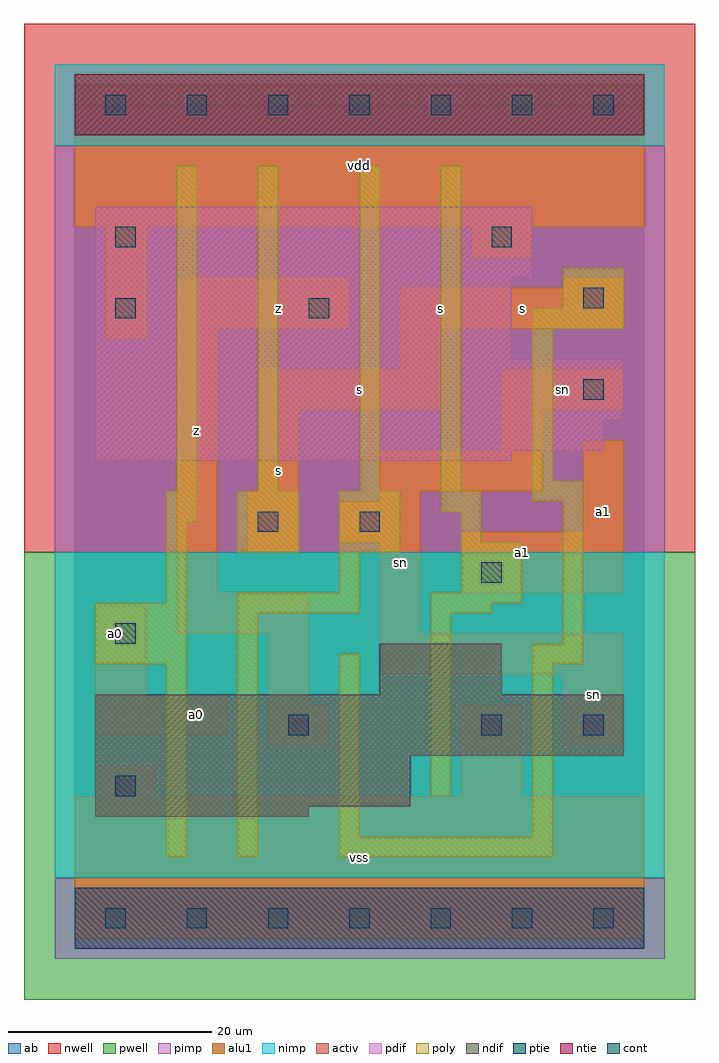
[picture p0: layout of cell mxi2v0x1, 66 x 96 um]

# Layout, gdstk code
import gdstk
lib = gdstk.Library(unit=1e-6, precision=1e-09)
def R(c, l, rs):  # rectangles x0, y0, x1, y1
    for r in rs: c.add(gdstk.rectangle(r[:2], r[2:], *l))
def A(c, l, x, y, w, h, nx, ny, dx, dy):  # array of equal rectangles
    R(c, l, [(x+i*dx, y+j*dy, x+i*dx+w, y+j*dy+h) for i in range(nx) for j in range(ny)])
ndif = (3, 0)
pdif = (4, 0)
ntie = (5, 0)
ptie = (6, 0)
cont = (25, 0)
pwell = (41, 0)
nwell = (42, 0)
activ = (43, 0)
pimp = (44, 0)
nimp = (45, 0)
poly = (46, 0)
alu1 = (49, 0)
ab = (63, 0)

mxi2v0x1 = lib.new_cell('mxi2v0x1')
R(mxi2v0x1, ndif, [(2,10,23,11), (2,11,33,16), (2,16,54,22), (30,22,42,27)])
R(mxi2v0x1, pdif, [(2,45,43,46), (2,46,52,49), (2,49,54,55), (2,55,43,63), (2,63,45,70)])
R(mxi2v0x1, ntie, [(0,77,56,83)])
R(mxi2v0x1, ptie, [(0,-3,56,3)])
A(mxi2v0x1, cont, 3, -1, 2, 2, 7, 2, 8, 80)
R(mxi2v0x1, cont, [(4,12,6,14), (21,18,23,20), (40,18,42,20), (50,18,52,20), (4,27,6,29), (40,33,42,35), (18,38,20,40), (28,38,30,40), (50,51,52,53), (4,59,6,61), (23,59,25,61), (50,60,52,62), (4,66,6,68), (41,66,43,68)])
R(mxi2v0x1, pwell, [(-5,-8,61,36)])
R(mxi2v0x1, nwell, [(-5,36,61,88)])
R(mxi2v0x1, activ, [(0,-3,56,3), (2,10,23,11), (2,11,33,16), (2,16,54,22), (30,22,42,27), (2,45,43,46), (2,46,52,49), (2,49,54,55), (2,55,43,63), (2,63,45,70), (0,77,56,83)])
R(mxi2v0x1, pimp, [(-2,-4,58,4), (-2,36,58,76)])
R(mxi2v0x1, nimp, [(-2,4,58,36), (-2,76,58,84)])
R(mxi2v0x1, poly, [(9,6,11,25), (16,6,18,30), (26,6,47,8), (26,8,28,26), (45,8,47,25), (35,12,37,30), (2,25,11,31), (45,25,50,27), (48,27,50,41), (16,30,28,32), (35,30,41,31), (9,31,11,39), (35,31,44,32), (26,32,28,36), (38,32,44,37), (16,36,22,42), (26,36,32,42), (38,37,40,40), (9,39,12,42), (36,40,40,42), (45,41,50,43), (10,42,12,74), (18,42,20,74), (28,42,30,74), (36,42,38,74), (45,43,47,58), (45,58,54,60), (48,60,54,64)])
R(mxi2v0x1, alu1, [(0,-2,56,12), (2,12,8,15), (38,12,44,21), (19,17,25,21), (48,17,54,24), (2,18,15,22), (19,21,23,28), (2,22,7,31), (30,24,54,28), (10,28,23,32), (30,28,34,37), (10,32,14,58), (38,32,54,38), (17,36,22,42), (26,37,34,41), (50,38,54,47), (30,41,34,42), (18,42,22,50), (30,42,46,46), (42,46,46,50), (18,50,36,54), (42,50,54,54), (32,54,36,58), (3,57,7,68), (10,58,27,63), (32,58,54,62), (48,62,54,63), (39,65,45,68), (0,68,56,82)])
R(mxi2v0x1, ab, [(0,0,56,80)])
mxi2v0x1.add(gdstk.Label('sn', (32,35), layer=49, texttype=0))
mxi2v0x1.add(gdstk.Label('sn', (51,22), layer=49, texttype=0))
mxi2v0x1.add(gdstk.Label('sn', (48,52), layer=49, texttype=0))
mxi2v0x1.add(gdstk.Label('a0', (4,28), layer=49, texttype=0))
mxi2v0x1.add(gdstk.Label('a0', (12,20), layer=49, texttype=0))
mxi2v0x1.add(gdstk.Label('s', (20,44), layer=49, texttype=0))
mxi2v0x1.add(gdstk.Label('z', (12,48), layer=49, texttype=0))
mxi2v0x1.add(gdstk.Label('z', (20,60), layer=49, texttype=0))
mxi2v0x1.add(gdstk.Label('vss', (28,6), layer=49, texttype=0))
mxi2v0x1.add(gdstk.Label('s', (28,52), layer=49, texttype=0))
mxi2v0x1.add(gdstk.Label('s', (36,60), layer=49, texttype=0))
mxi2v0x1.add(gdstk.Label('vdd', (28,74), layer=49, texttype=0))
mxi2v0x1.add(gdstk.Label('a1', (44,36), layer=49, texttype=0))
mxi2v0x1.add(gdstk.Label('a1', (52,40), layer=49, texttype=0))
mxi2v0x1.add(gdstk.Label('s', (44,60), layer=49, texttype=0))

lib.write_gds('mxi2v0x1.gds')
